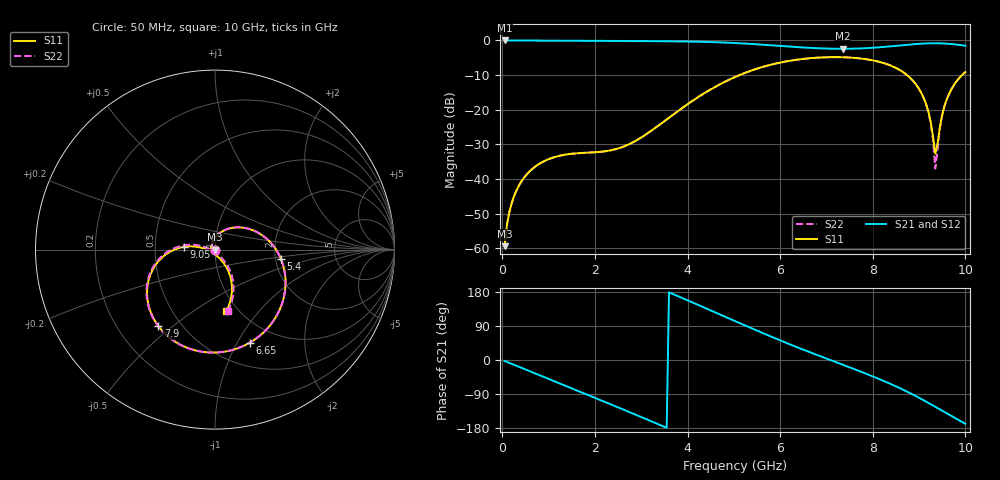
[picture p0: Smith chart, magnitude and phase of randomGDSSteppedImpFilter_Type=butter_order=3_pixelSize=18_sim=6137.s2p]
! freq	dB(S11)	phase(S11)	dB(S12)	phase(S12)
!  dB(S21)	phase(S21)	dB(S22)	phase(S22)
!S-par simulation data
#  GHz  S  DB  R 50
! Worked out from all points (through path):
!   200 points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, 50 MHz to 10 GHz, reference 50 ohm
!   highest |S21| = 0.00 dB at 50 MHz (marker M1); lowest = -2.4 dB at 7.35 GHz (marker M2)
!   group delay of S21, straight-line fit = 143 ps
!   lowest |S11| = -59.4 dB at 50 MHz (marker M3), VSWR 1.00, Z = 50 - j0.107 ohm
!   |S11| at or under -10 dB: start of sweep to 5.125 GHz; 8.739 GHz to 9.929 GHz (1.19 GHz wide, 12.8 % of centre)
!   |S22| runs from -59.4 to -4.8 dB; largest |S21 - S12| = 0
!   S11 on the Smith chart (normalised r, x): 50 MHz: 1.00, -0.00; 5.4 GHz: 2.14, -0.26; 6.65 GHz: 0.75, -1.13; 7.9 GHz: 0.38, -0.44; 9.05 GHz: 0.70, +0.02; 10 GHz: 0.88, -0.69
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0.05  -59.43 -87.6  -0.00 -2.5  -0.00 -2.5  -59.43 -87.5
0.2  -47.13 -96.7  -0.02 -10.0  -0.02 -10.0  -47.13 -96.5
0.5  -39.14 -114.1  -0.03 -25.0  -0.03 -25.0  -39.13 -113.8
1.15  -33.62 -150.6  -0.07 -57.3  -0.07 -57.3  -33.61 -150.0
1.75  -32.49 176.6  -0.10 -87.3  -0.10 -87.3  -32.49 177.8
2.5  -31.21 136.7  -0.15 -125.0  -0.15 -125.0  -31.22 138.5
3.4  -24.31 93.2  -0.23 -171.1  -0.23 -171.1  -24.31 94.3
4.15  -17.06 56.4  -0.36 149.6  -0.36 149.6  -17.06 56.9
5.05  -10.42 10.0  -0.76 101.4  -0.76 101.4  -10.42 10.1
5.4  -8.60 -8.2  -1.03 82.8  -1.03 82.8  -8.60 -8.2
6.05  -6.27 -40.9  -1.63 49.3  -1.63 49.3  -6.27 -41.0
6.65  -5.13 -69.5  -2.15 20.1  -2.15 20.1  -5.13 -69.8
6.7  -5.08 -71.9  -2.19 17.8  -2.19 17.8  -5.08 -72.1
7.35  -4.85 -101.4  -2.41 -12.4  -2.41 -12.4  -4.85 -101.7
7.9  -5.52 -126.6  -2.20 -38.3  -2.20 -38.3  -5.52 -127.1
8.35  -7.06 -148.6  -1.75 -61.3  -1.75 -61.3  -7.07 -149.4
9.05  -15.20 174.9  -0.93 -103.0  -0.93 -103.0  -15.25 172.0
9.25  -23.46 173.6  -0.82 -116.5  -0.82 -116.5  -23.82 165.6
9.35  -32.72 -136.3  -0.81 -123.4  -0.81 -123.4  -36.99 -143.7
9.45  -24.84 -61.7  -0.83 -130.4  -0.83 -130.4  -25.26 -52.0
9.55  -18.89 -57.1  -0.89 -137.4  -0.89 -137.4  -18.98 -52.1
10  -9.13 -79.8  -1.53 -168.3  -1.53 -168.3  -9.13 -78.2
